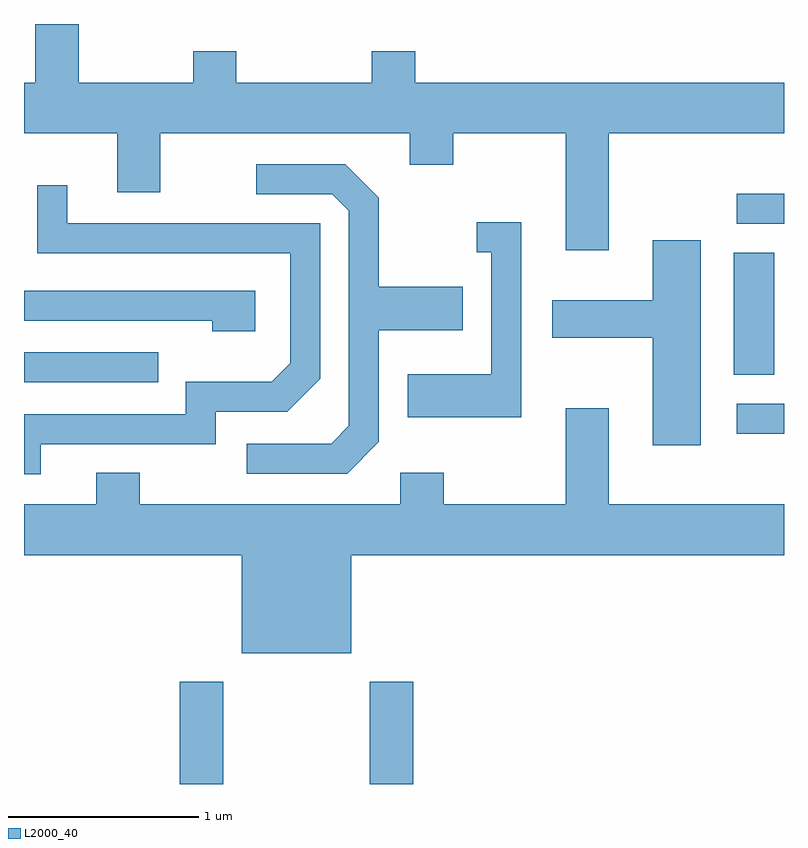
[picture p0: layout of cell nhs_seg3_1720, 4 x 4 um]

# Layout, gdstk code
import gdstk
lib = gdstk.Library(unit=1e-6, precision=1e-09)
def R(c, l, rs):  # rectangles x0, y0, x1, y1
    for r in rs: c.add(gdstk.rectangle(r[:2], r[2:], *l))
def P(c, l, *ps):  # polygons
    for p in ps: c.add(gdstk.Polygon(p, *l))
L2000_40 = (2000, 40)

nhs_seg3_1720 = lib.new_cell('nhs_seg3_1720')
R(nhs_seg3_1720, L2000_40, [(236.431,1155.892,236.659,1156.429), (237.431,1155.892,237.659,1156.429), (239.363,1157.736,239.611,1157.894), (235.611,1158.006,236.318,1158.164), (239.346,1158.046,239.559,1158.689), (239.363,1158.841,239.611,1158.999)])
P(nhs_seg3_1720, L2000_40, [(238.689,1159.316),(239.611,1159.316),(239.611,1159.584),(237.669,1159.584),(237.669,1159.749),(237.441,1159.749),(237.441,1159.584),(236.729,1159.584),(236.729,1159.749),(236.501,1159.749),(236.501,1159.584),(235.899,1159.584),(235.899,1159.892),(235.671,1159.892),(235.671,1159.584),(235.611,1159.584),(235.611,1159.316),(236.101,1159.316),(236.101,1159.006),(236.329,1159.006),(236.329,1159.316),(237.641,1159.316),(237.641,1159.151),(237.869,1159.151),(237.869,1159.316),(238.461,1159.316),(238.461,1158.701),(238.689,1158.701)],
  [(237.479,1157.694),(237.479,1158.281),(237.919,1158.281),(237.919,1158.509),(237.479,1158.509),(237.479,1158.977),(237.302,1159.154),(236.833,1159.154),(236.833,1158.996),(237.234,1158.996),(237.321,1158.909),(237.321,1157.777),(237.229,1157.684),(236.783,1157.684),(236.783,1157.526),(237.312,1157.526)],
  [(235.699,1157.681),(236.619,1157.681),(236.619,1157.851),(236.997,1157.851),(237.169,1158.024),(237.169,1158.844),(235.839,1158.844),(235.839,1159.043),(235.681,1159.043),(235.681,1158.686),(237.011,1158.686),(237.011,1158.107),(236.914,1158.009),(236.461,1158.009),(236.461,1157.839),(235.611,1157.839),(235.611,1157.521),(235.699,1157.521)],
  [(238.229,1158.849),(237.993,1158.849),(237.993,1158.691),(238.071,1158.691),(238.071,1158.049),(237.631,1158.049),(237.631,1157.821),(238.229,1157.821)],
  [(239.174,1158.754),(238.921,1158.754),(238.921,1158.439),(238.391,1158.439),(238.391,1158.241),(238.921,1158.241),(238.921,1157.676),(239.174,1157.676)],
  [(236.829,1158.489),(235.611,1158.489),(235.611,1158.331),(236.601,1158.331),(236.601,1158.276),(236.829,1158.276)],
  [(237.334,1157.096),(239.611,1157.096),(239.611,1157.364),(238.689,1157.364),(238.689,1157.869),(238.461,1157.869),(238.461,1157.364),(237.819,1157.364),(237.819,1157.529),(237.591,1157.529),(237.591,1157.364),(236.219,1157.364),(236.219,1157.529),(235.991,1157.529),(235.991,1157.364),(235.611,1157.364),(235.611,1157.096),(236.756,1157.096),(236.756,1156.581),(237.334,1156.581)])

lib.write_gds('nhs_seg3_1720.gds')
